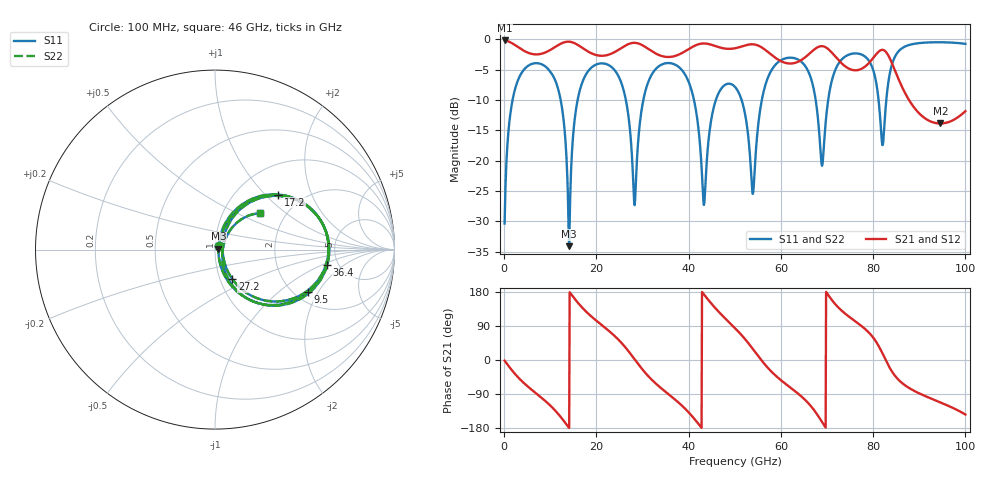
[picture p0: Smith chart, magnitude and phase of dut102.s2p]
! Touchstone file exported from HFSS 2026.1.0
!  File:  C:/ffzhzh/LocalFiles/Ansys_Project_Files/temp_train_TSV_RDL_102_1783456060_50928.aedt
!  Generated:  04:49:40 AM Jul  8, 2026
!  Design:  TSV_RDL
!  Project:  temp_train_TSV_RDL_102_1783456060_50928
! Variables:
!  h_bsmrdl = 3.53um
!  h_ox = 20um
!  h_rdl = 5um
!  h_sub = 73.54um
!  h_tmrdl = 3.27um
!  h_tsv = 73.54um
!  h_via = 3um
!  l_bsmrdl = 509.67um
!  l_sub = 4322.13um
!  l_tmrdl = 571.4um
!  m_sub = 200um
!  pitch = 59.44um
!  r_tsv = 10.11um
!  s_tmrdl = 10um
!  w_bsmrdl = 14.81um
!  w_sub = 500um
!  w_tmrdl = 21.03um
!  x_tsv_center1 = 581.915um
!  x_tsv_center2 = 1106.395um
!  x_tsv_center3 = 1698.825um
!  x_tsv_center4 = 2223.305um
!  x_tsv_center5 = 2815.735um
!  x_tsv_center6 = 3340.215um
# GHz S MA R 50.000000
! Terminal data exported
! Port[1] = TM_RDL1_1_T1
! Port[2] = TM_RDL5_1_T1
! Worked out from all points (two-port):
!   1000 points, 100 MHz to 100 GHz, reference 50 ohm
!   highest |S21| = -0.20 dB at 100 MHz (marker M1); lowest = -13.9 dB at 94.6 GHz (marker M2)
!   |S21| within 3 dB of the highest: start of sweep to 59.07 GHz; 64.87 GHz to 72.2 GHz (7.329 GHz wide, 10.7 % of centre) (the widest 2 of 3)
!   lowest |S11| = -34.1 dB at 14.1 GHz (marker M3), VSWR 1.04, Z = 52 + j0.467 ohm
!   |S11| at or under -10 dB: 26.39 GHz to 30.18 GHz (3.794 GHz wide, 13.4 % of centre); 41.15 GHz to 45.91 GHz (4.755 GHz wide, 10.9 % of centre); 51.47 GHz to 55.87 GHz (4.395 GHz wide, 8.19 % of centre) (the widest 3 of 7)
!   |S22| runs from -34.2 to -0.5 dB; largest |S21 - S12| = 1.6e-12
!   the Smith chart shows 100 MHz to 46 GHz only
!   S11 on the Smith chart (normalised r, x): 100 MHz: 1.05, +0.04; 9.5 GHz: 2.34, -1.64; 17.2 GHz: 1.52, +1.19; 27.2 GHz: 1.14, -0.39; 36.4 GHz: 4.06, -1.16; 46 GHz: 1.49, +0.68
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0.1  0.03029 39.2  0.9769 -1.7  0.9769 -1.7  0.03029 39.2
! Gamma 0 0 0 0
! Port Impedance 50 0 50 0
2.7  0.4278 45.0  0.8777 -41.5  0.8777 -41.5  0.4278 45.0
9.5  0.5697 -24.6  0.7964 -114.4  0.7964 -114.4  0.5697 -24.6
14.1  0.0197 13.2  0.9541 -179.5  0.9541 -179.5  0.01944 13.2
16.8  0.4254 46.0  0.8563 139.8  0.8563 139.8  0.4254 46.0
17.2  0.4662 41.2  0.8365 134.7  0.8365 134.7  0.4661 41.2
27.2  0.1924 -59.6  0.9195 19.4  0.9195 19.4  0.1924 -59.5
28.3  0.04288 6.9  0.9338 1.7  0.9338 1.7  0.04322 6.8
33.4  0.5932 19.9  0.7453 -67.8  0.7453 -67.8  0.5932 19.8
36.4  0.6307 -7.9  0.7181 -97.8  0.7181 -97.8  0.6307 -7.9
43.3  0.04307 -9.4  0.923 173.3  0.923 173.3  0.042 -9.4
46  0.3238 38.7  0.8736 134.0  0.8736 134.0  0.3238 38.9
50.1  0.4025 -4.7  0.843 83.6  0.843 83.6  0.4025 -4.6
53.9  0.05312 24.0  0.9082 29.4  0.9082 29.4  0.05329 23.9
55.6  0.2767 80.1  0.867 2.2  0.867 2.2  0.2767 80.0
66.7  0.4513 -26.7  0.7914 -124.6  0.7914 -124.6  0.4511 -26.8
68.9  0.09062 12.7  0.8769 -163.1  0.8769 -163.1  0.08922 12.6
73.7  0.7093 31.2  0.6077 124.7  0.6077 124.7  0.7092 31.3
80.3  0.5095 -27.1  0.7231 54.3  0.7231 54.3  0.5095 -27.0
83.4  0.4694 54.4  0.7217 -16.4  0.7217 -16.4  0.4696 54.4
94.6  0.9442 -22.4  0.2021 -112.1  0.2021 -112.1  0.9442 -22.4
100  0.916 -51.5  0.2554 -143.9  0.2554 -143.9  0.9161 -51.4
